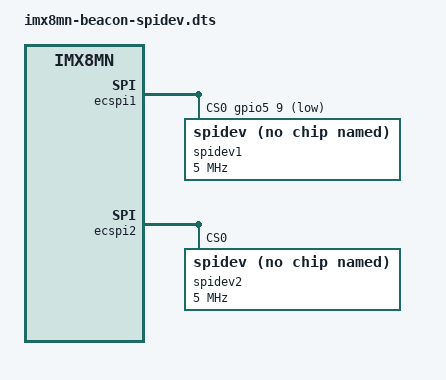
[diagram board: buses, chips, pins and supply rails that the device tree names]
// SPDX-License-Identifier: (GPL-2.0 OR MIT)
/*
 * Copyright 2021 Logic PD, Inc. DBA BeaconEmbeddedWorks
 */

/dts-v1/;

#include "imx8mn-beacon-kit.dts"

/ {
	aliases {
		/delete-property/ serial2;
		spi1 = <&ecspi1>;
		spi2 = <&ecspi2>;
	};
};

/* UART3 shares pins with ECSPI1, so they cannot both exist */
/delete-node/ &uart3;

&ecspi1 {
	pinctrl-names = "default";
	pinctrl-0 = <&pinctrl_ecspi1>;
	status = "okay";
	cs-gpios = <&gpio5 9 GPIO_ACTIVE_LOW>;
	#address-cells = <1>;
	#size-cells = <0>;

	spidev1: spidev1@0 {
               compatible = "spidev";
               spi-max-frequency = <5000000>;
               reg = <0>;
       };
};

&ecspi2 {
	/delete-node/ eeprom@0;

	spidev2: spidev2@0 {
               compatible = "spidev";
               spi-max-frequency = <5000000>;
               reg = <0>;
       };
};

&iomuxc {
	pinctrl_ecspi1: uart3grp {
		fsl,pins = <
			MX8MN_IOMUXC_ECSPI1_SCLK_ECSPI1_SCLK		0x82
			MX8MN_IOMUXC_ECSPI1_MOSI_ECSPI1_MOSI		0x82
			MX8MN_IOMUXC_ECSPI1_MISO_ECSPI1_MISO		0x82
			MX8MN_IOMUXC_ECSPI1_SS0_GPIO5_IO9		0x41
		>;
	};
};

